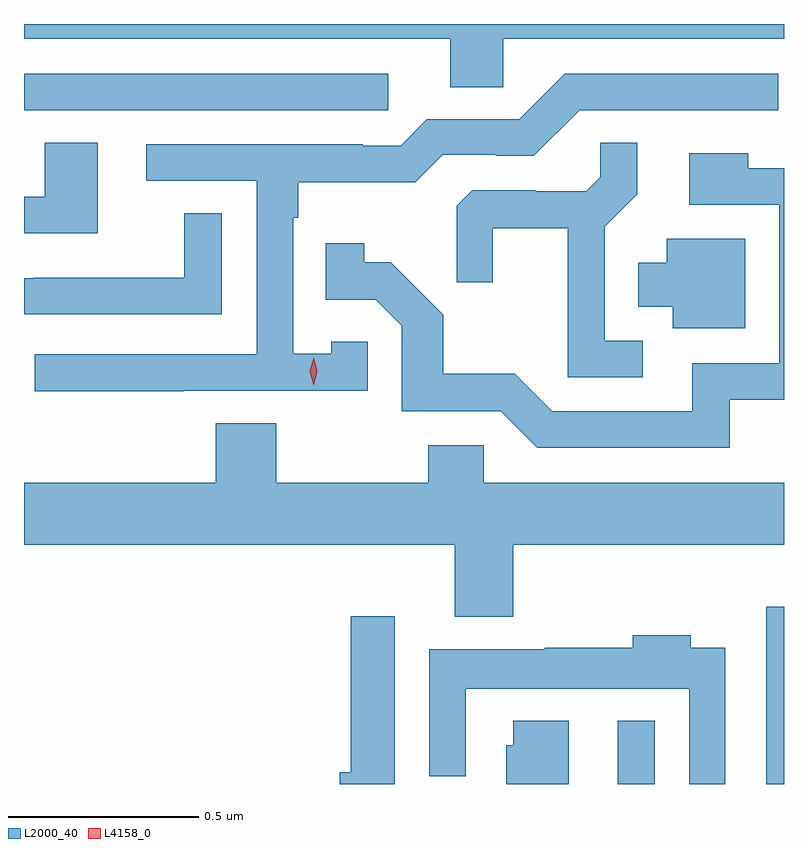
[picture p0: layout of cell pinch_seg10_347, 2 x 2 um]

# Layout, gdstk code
import gdstk
lib = gdstk.Library(unit=1e-6, precision=1e-09)
def R(c, l, rs):  # rectangles x0, y0, x1, y1
    for r in rs: c.add(gdstk.rectangle(r[:2], r[2:], *l))
def P(c, l, *ps):  # polygons
    for p in ps: c.add(gdstk.Polygon(p, *l))
L2000_40 = (2000, 40)
L4158_0 = (4158, 0)

pinch_seg10_347 = lib.new_cell('pinch_seg10_347')
R(pinch_seg10_347, L2000_40, [(503.078,1282.371,503.175,1282.537), (503.468,1282.371,503.515,1282.837), (501.515,1284.144,502.474,1284.24)])
P(pinch_seg10_347, L2000_40, [(502.776,1284.332),(503.515,1284.332),(503.515,1284.371),(501.515,1284.371),(501.515,1284.332),(502.637,1284.332),(502.637,1284.205),(502.776,1284.205)],
  [(501.935,1283.406),(502.419,1283.406),(502.419,1283.535),(502.323,1283.535),(502.323,1283.503),(502.224,1283.503),(502.224,1283.861),(502.237,1283.861),(502.237,1283.954),(502.544,1283.954),(502.617,1284.027),(502.756,1284.027),(502.756,1284.024),(502.857,1284.024),(502.977,1284.144),(503.5,1284.144),(503.5,1284.24),(502.938,1284.24),(502.818,1284.12),(502.575,1284.12),(502.506,1284.051),(502.406,1284.051),(502.406,1284.054),(501.837,1284.054),(501.837,1283.958),(502.128,1283.958),(502.128,1283.502),(501.543,1283.502),(501.543,1283.404),(501.935,1283.404)],
  [(503.143,1283.538),(503.043,1283.538),(503.043,1283.837),(503.129,1283.923),(503.129,1284.059),(503.031,1284.059),(503.031,1283.968),(502.994,1283.931),(502.86,1283.931),(502.86,1283.934),(502.695,1283.934),(502.654,1283.893),(502.654,1283.691),(502.748,1283.691),(502.748,1283.834),(502.946,1283.834),(502.946,1283.442),(503.143,1283.442)],
  [(501.709,1284.059),(501.569,1284.059),(501.569,1283.916),(501.515,1283.916),(501.515,1283.82),(501.709,1283.82)],
  [(503.372,1283.382),(503.515,1283.382),(503.515,1283.991),(503.421,1283.991),(503.421,1284.031),(503.265,1284.031),(503.265,1283.895),(503.502,1283.895),(503.502,1283.478),(503.273,1283.478),(503.273,1283.352),(502.905,1283.352),(502.807,1283.451),(502.618,1283.451),(502.618,1283.606),(502.48,1283.744),(502.41,1283.744),(502.41,1283.794),(502.309,1283.794),(502.309,1283.646),(502.44,1283.646),(502.509,1283.577),(502.509,1283.352),(502.77,1283.352),(502.866,1283.256),(503.372,1283.256)],
  [(502.035,1283.873),(501.937,1283.873),(501.937,1283.703),(501.541,1283.703),(501.541,1283.702),(501.515,1283.702),(501.515,1283.607),(502.035,1283.607)],
  [(503.413,1283.806),(503.207,1283.806),(503.207,1283.743),(503.132,1283.743),(503.132,1283.627),(503.222,1283.627),(503.222,1283.57),(503.413,1283.57)],
  [(502.802,1283),(503.515,1283),(503.515,1283.164),(502.725,1283.164),(502.725,1283.262),(502.579,1283.262),(502.579,1283.164),(502.179,1283.164),(502.179,1283.321),(502.019,1283.321),(502.019,1283.164),(501.515,1283.164),(501.515,1283),(502.649,1283),(502.649,1282.811),(502.802,1282.811)],
  [(502.491,1282.813),(502.375,1282.813),(502.375,1282.402),(502.346,1282.402),(502.346,1282.371),(502.491,1282.371)],
  [(503.361,1282.729),(503.269,1282.729),(503.269,1282.762),(503.117,1282.762),(503.117,1282.729),(502.885,1282.729),(502.885,1282.726),(502.581,1282.726),(502.581,1282.392),(502.677,1282.392),(502.677,1282.622),(503.265,1282.622),(503.265,1282.371),(503.361,1282.371)],
  [(502.948,1282.537),(502.802,1282.537),(502.802,1282.473),(502.784,1282.473),(502.784,1282.371),(502.948,1282.371)])
P(pinch_seg10_347, L4158_0, [(502.277,1283.421),(502.277,1283.421),(502.267,1283.457),(502.277,1283.493),(502.277,1283.493),(502.277,1283.493),(502.287,1283.457),(502.277,1283.421)])

lib.write_gds('pinch_seg10_347.gds')
